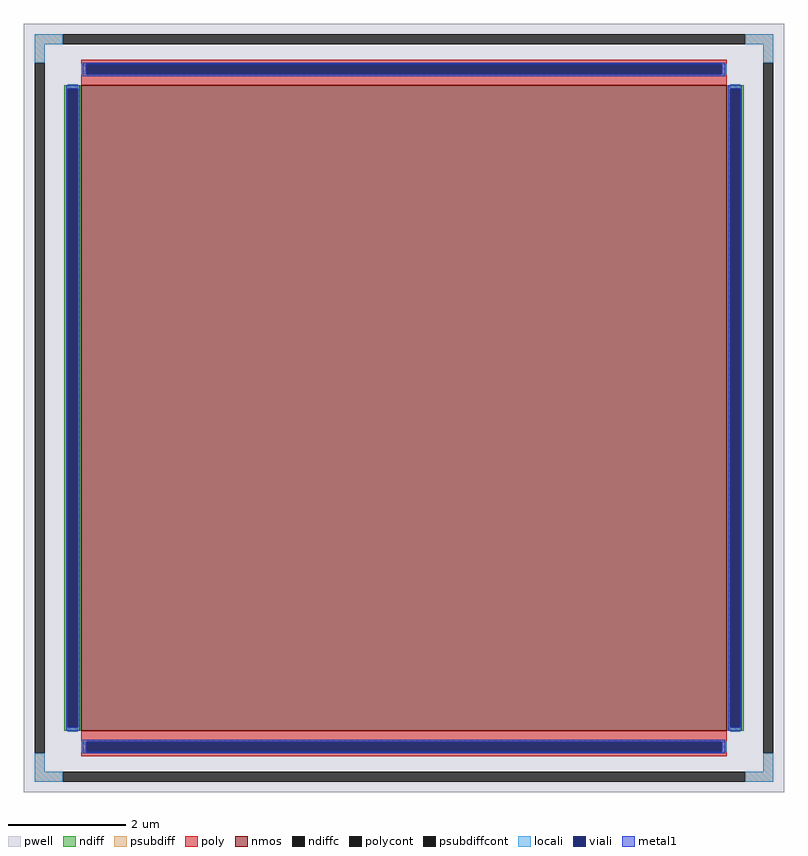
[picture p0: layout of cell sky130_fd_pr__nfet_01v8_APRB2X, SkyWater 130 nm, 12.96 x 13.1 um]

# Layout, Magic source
magic
tech sky130A
<< pwell >>
rect -648 -655 648 655
<< nmos >>
rect -550 -550 550 550
<< ndiff >>
rect -579 544 -550 550
rect -579 -544 -573 544
rect -556 -544 -550 544
rect -579 -550 -550 -544
rect 550 544 579 550
rect 550 -544 556 544
rect 573 -544 579 544
rect 550 -550 579 -544
<< ndiffc >>
rect -573 -544 -556 544
rect 556 -544 573 544
<< psubdiff >>
rect -630 620 -582 637
rect 582 620 630 637
rect -630 589 -613 620
rect 613 589 630 620
rect -630 -620 -613 -589
rect 613 -620 630 -589
rect -630 -637 -582 -620
rect 582 -637 630 -620
<< psubdiffcont >>
rect -582 620 582 637
rect -630 -589 -613 589
rect 613 -589 630 589
rect -582 -637 582 -620
<< poly >>
rect -550 586 550 594
rect -550 569 -542 586
rect 542 569 550 586
rect -550 550 550 569
rect -550 -569 550 -550
rect -550 -586 -542 -569
rect 542 -586 550 -569
rect -550 -594 550 -586
<< polycont >>
rect -542 569 542 586
rect -542 -586 542 -569
<< locali >>
rect -630 620 -582 637
rect 582 620 630 637
rect -630 589 -613 620
rect 613 589 630 620
rect -550 569 -542 586
rect 542 569 550 586
rect -573 544 -556 552
rect -573 -552 -556 -544
rect 556 544 573 552
rect 556 -552 573 -544
rect -550 -586 -542 -569
rect 542 -586 550 -569
rect -630 -620 -613 -589
rect 613 -620 630 -589
rect -630 -637 -582 -620
rect 582 -637 630 -620
<< viali >>
rect -542 569 542 586
rect -573 -544 -556 544
rect 556 -544 573 544
rect -542 -586 542 -569
<< metal1 >>
rect -548 586 548 589
rect -548 569 -542 586
rect 542 569 548 586
rect -548 566 548 569
rect -576 544 -553 550
rect -576 -544 -573 544
rect -556 -544 -553 544
rect -576 -550 -553 -544
rect 553 544 576 550
rect 553 -544 556 544
rect 573 -544 576 544
rect 553 -550 576 -544
rect -548 -569 548 -566
rect -548 -586 -542 -569
rect 542 -586 548 -569
rect -548 -589 548 -586
<< properties >>
string FIXED_BBOX -621 -628 621 628
string gencell sky130_fd_pr__nfet_01v8
string library sky130
string parameters w 11.0 l 11.0 m 1 nf 1 diffcov 100 polycov 100 guard 1 glc 1 grc 1 gtc 1 gbc 1 tbcov 100 rlcov 100 topc 1 botc 1 poverlap 0 doverlap 1 lmin 0.15 wmin 0.42 compatible {sky130_fd_pr__nfet_01v8 sky130_fd_pr__nfet_01v8_lvt  sky130_fd_bs_flash__special_sonosfet_star  sky130_fd_pr__nfet_g5v0d10v5 sky130_fd_pr__nfet_05v0_nvt  sky130_fd_pr__nfet_03v3_nvt} full_metal 1 viasrc 100 viadrn 100 viagate 100 viagb 0 viagr 0 viagl 0 viagt 0
<< end >>
